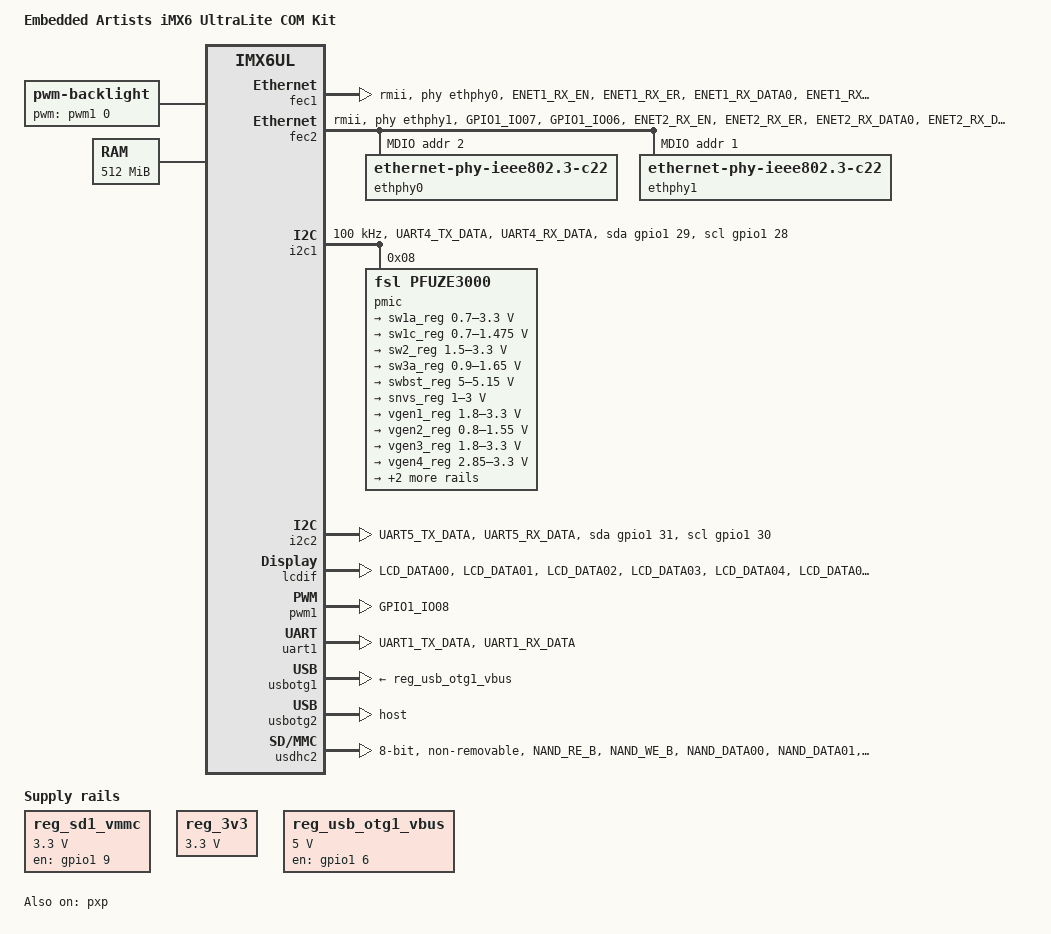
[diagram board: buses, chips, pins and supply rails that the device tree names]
/*
 * Copyright (C) 2015 Freescale Semiconductor, Inc.
 * Copyright 2017 NXP
 *
 * This program is free software; you can redistribute it and/or modify
 * it under the terms of the GNU General Public License version 2 as
 * published by the Free Software Foundation.
 */

/dts-v1/;

#include "imx6ul.dtsi"

/ {
	model = "Embedded Artists iMX6 UltraLite COM Kit";
	compatible = "fsl,imx6ulea-com", "fsl,imx6ul";

        aliases {
                usdhc1 = &usdhc1;
        };

	backlight {
		compatible = "pwm-backlight";
		pwms = <&pwm1 0 5000000>;
		brightness-levels = <0 4 8 16 32 64 128 255>;
		default-brightness-level = <6>;
		status = "okay";
	};

	chosen {
		stdout-path = &uart1;
	};

	memory {
		reg = <0x80000000 0x20000000>;
	};

	pxp_v4l2 {
		compatible = "fsl,imx6ul-pxp-v4l2", "fsl,imx6sx-pxp-v4l2", "fsl,imx6sl-pxp-v4l2";
		status = "okay";
	};

	regulators {
		compatible = "simple-bus";
		#address-cells = <1>;
		#size-cells = <0>;

		reg_sd1_vmmc: regulator@1 {
			compatible = "regulator-fixed";
			regulator-name = "VSD_3V3";
			regulator-min-microvolt = <3300000>;
			regulator-max-microvolt = <3300000>;
			gpio = <&gpio1 9 GPIO_ACTIVE_HIGH>;
			enable-active-high;
		};

		reg_3v3: regulator@2 {
			compatible = "regulator-fixed";
			reg = <2>;
			regulator-name = "reg-3v3";
			regulator-min-microvolt = <3300000>;
			regulator-max-microvolt = <3300000>;
		};

		reg_usb_otg1_vbus: regulator@0 {
			compatible = "regulator-fixed";
			reg = <2>;
			regulator-name = "usb_otg1_vbus";
			regulator-min-microvolt = <5000000>;
			regulator-max-microvolt = <5000000>;

			/* This is a dummy pin. It is not used but must
			   be declared for USB OTG to work. It could be
			   any pin. */
			gpio = <&gpio1 6 GPIO_ACTIVE_HIGH>;
			enable-active-high;
		};
	};

};


&cpu0 {
	/*
	 * on i.MX6UL, no seperated VDD_ARM_IN and VDD_SOC_IN,
	 * to align with other platform and use the same cpufreq
	 * driver, still use the seperated OPP define for arm
	 * and soc.
	 */
	operating-points = <
		/* kHz	uV */
		528000	1175000
		396000	1175000
		198000	1175000
	>;
	fsl,soc-operating-points = <
		/* KHz	uV */
		528000	1175000
		396000	1175000
		198000	1175000
	>;
	fsl,arm-soc-shared = <1>;
};

&reg_arm {
	vin-supply = <&sw1c_reg>;
	regulator-allow-bypass;
};

&reg_soc {
	vin-supply = <&sw1c_reg>;
	regulator-allow-bypass;
};

&fec1 {
	pinctrl-names = "default";
	pinctrl-0 = <&pinctrl_enet1>;
	phy-mode = "rmii";
	phy-handle = <&ethphy0>;
	status = "okay";
};

&fec2 {
	pinctrl-names = "default";
	pinctrl-0 = <&pinctrl_enet2>;
	phy-mode = "rmii";
	phy-handle = <&ethphy1>;
	status = "okay";

	mdio {
		#address-cells = <1>;
		#size-cells = <0>;

		ethphy0: ethernet-phy@2 {
			compatible = "ethernet-phy-ieee802.3-c22";
			reg = <2>;
		};

		ethphy1: ethernet-phy@1 {
			compatible = "ethernet-phy-ieee802.3-c22";
			reg = <1>;
		};
	};
};

&gpc {
	fsl,cpu_pupscr_sw2iso = <0x1>;
	fsl,cpu_pupscr_sw = <0x0>;
	fsl,cpu_pdnscr_iso2sw = <0x1>;
	fsl,cpu_pdnscr_iso = <0x1>;
	fsl,wdog-reset = <1>; /* watchdog select of reset source */
	fsl,ldo-bypass = <1>;
};

&i2c1 {
	clock-frequency = <100000>;
	pinctrl-names = "default", "gpio";
	pinctrl-0 = <&pinctrl_i2c1>;
	pinctrl-1 = <&pinctrl_i2c1_gpio>;
	scl-gpios = <&gpio1 28 GPIO_ACTIVE_HIGH>;
	sda-gpios = <&gpio1 29 GPIO_ACTIVE_HIGH>;
	status = "okay";

	pmic: pfuze3000@08 {
		compatible = "fsl,pfuze3000";
		reg = <0x08>;

		regulators {
			sw1a_reg: sw1a {
				regulator-min-microvolt = <700000>;
				regulator-max-microvolt = <3300000>;
				regulator-boot-on;
				regulator-always-on;
				regulator-ramp-delay = <6250>;
			};

			/* use sw1c_reg to align with pfuze100/pfuze200 */
			sw1c_reg: sw1b {
				regulator-min-microvolt = <700000>;
				regulator-max-microvolt = <1475000>;
				regulator-boot-on;
				regulator-always-on;
				regulator-ramp-delay = <6250>;
			};

			sw2_reg: sw2 {
				regulator-min-microvolt = <1500000>;
				regulator-max-microvolt = <3300000>;
				regulator-boot-on;
				regulator-always-on;
			};

			sw3a_reg: sw3 {
				regulator-min-microvolt = <900000>;
				regulator-max-microvolt = <1650000>;
				regulator-boot-on;
				regulator-always-on;
			};

			swbst_reg: swbst {
				regulator-min-microvolt = <5000000>;
				regulator-max-microvolt = <5150000>;
			};

			snvs_reg: vsnvs {
				regulator-min-microvolt = <1000000>;
				regulator-max-microvolt = <3000000>;
				regulator-boot-on;
				regulator-always-on;
			};

			vref_reg: vrefddr {
				regulator-boot-on;
				regulator-always-on;
			};

			vgen1_reg: vldo1 {
				regulator-min-microvolt = <1800000>;
				regulator-max-microvolt = <3300000>;
				regulator-always-on;
			};

			vgen2_reg: vldo2 {
				regulator-min-microvolt = <800000>;
				regulator-max-microvolt = <1550000>;
				regulator-always-on;
			};

			vgen3_reg: vccsd {
				regulator-min-microvolt = <1800000>;
				regulator-max-microvolt = <3300000>;
				regulator-always-on;
			};

			vgen4_reg: v33 {
				regulator-min-microvolt = <2850000>;
				regulator-max-microvolt = <3300000>;
				regulator-always-on;
			};

			vgen5_reg: vldo3 {
				regulator-min-microvolt = <1800000>;
				regulator-max-microvolt = <3300000>;
				regulator-always-on;
			};

			vgen6_reg: vldo4 {
				regulator-min-microvolt = <1800000>;
				regulator-max-microvolt = <3300000>;
				regulator-always-on;
			};
		};

	};

};

&i2c2 {
	clock_frequency = <100000>;
	pinctrl-names = "default", "gpio";
	pinctrl-0 = <&pinctrl_i2c2>;
	pinctrl-1 = <&pinctrl_i2c2_gpio>;
	scl-gpios = <&gpio1 30 GPIO_ACTIVE_HIGH>;
	sda-gpios = <&gpio1 31 GPIO_ACTIVE_HIGH>;
	status = "okay";
};

&iomuxc {
	pinctrl-names = "default";
	pinctrl-0 = <&pinctrl_hog_1>;
	imx6ul-evk {

		pinctrl_enet1: enet1grp {
			fsl,pins = <
				MX6UL_PAD_ENET1_RX_EN__ENET1_RX_EN	0x1b0b0
				MX6UL_PAD_ENET1_RX_ER__ENET1_RX_ER	0x1b0b0
				MX6UL_PAD_ENET1_RX_DATA0__ENET1_RDATA00	0x1b0b0
				MX6UL_PAD_ENET1_RX_DATA1__ENET1_RDATA01	0x1b0b0
				MX6UL_PAD_ENET1_TX_EN__ENET1_TX_EN	0x1b0b0
				MX6UL_PAD_ENET1_TX_DATA0__ENET1_TDATA00	0x1b0b0
				MX6UL_PAD_ENET1_TX_DATA1__ENET1_TDATA01	0x1b0b0
				MX6UL_PAD_ENET1_TX_CLK__ENET1_REF_CLK1	0x4001b031
			>;
		};

		pinctrl_enet2: enet2grp {
			fsl,pins = <
				MX6UL_PAD_GPIO1_IO07__ENET2_MDC		0x1b0b0
				MX6UL_PAD_GPIO1_IO06__ENET2_MDIO	0x1b0b0
				MX6UL_PAD_ENET2_RX_EN__ENET2_RX_EN	0x1b0b0
				MX6UL_PAD_ENET2_RX_ER__ENET2_RX_ER	0x1b0b0
				MX6UL_PAD_ENET2_RX_DATA0__ENET2_RDATA00	0x1b0b0
				MX6UL_PAD_ENET2_RX_DATA1__ENET2_RDATA01	0x1b0b0
				MX6UL_PAD_ENET2_TX_EN__ENET2_TX_EN	0x1b0b0
				MX6UL_PAD_ENET2_TX_DATA0__ENET2_TDATA00	0x1b0b0
				MX6UL_PAD_ENET2_TX_DATA1__ENET2_TDATA01	0x1b0b0
				MX6UL_PAD_ENET2_TX_CLK__ENET2_REF_CLK2	0x4001b031
				MX6UL_PAD_SNVS_TAMPER0__GPIO5_IO00	0x80000000
			>;
		};

		pinctrl_hog_1: hoggrp-1 {
			fsl,pins = <
				MX6UL_PAD_GPIO1_IO09__GPIO1_IO09        0x17059 /* SD1 RESET */
				MX6UL_PAD_SNVS_TAMPER1__GPIO5_IO01      0x17059 /* CAN Regulator */
			>;
		};

		pinctrl_i2c1: i2c1grp {
			fsl,pins = <
				MX6UL_PAD_UART4_TX_DATA__I2C1_SCL 0x4001b8b0
				MX6UL_PAD_UART4_RX_DATA__I2C1_SDA 0x4001b8b0
			>;
		};

		pinctrl_i2c1_gpio: i2c1grp_gpio {
			fsl,pins = <
				MX6UL_PAD_UART4_TX_DATA__GPIO1_IO28 0x1b8b0
				MX6UL_PAD_UART4_RX_DATA__GPIO1_IO29 0x1b8b0
			>;
		};

		pinctrl_i2c2: i2c2grp {
			fsl,pins = <
				MX6UL_PAD_UART5_TX_DATA__I2C2_SCL 0x4001b8b0
				MX6UL_PAD_UART5_RX_DATA__I2C2_SDA 0x4001b8b0
			>;
		};

		pinctrl_i2c2_gpio: i2c2grp_gpio {
			fsl,pins = <
				MX6UL_PAD_UART5_TX_DATA__GPIO1_IO30 0x1b8b0
				MX6UL_PAD_UART5_RX_DATA__GPIO1_IO31 0x1b8b0
			>;
		};

		pinctrl_lcdif_ctrl: lcdifctrlgrp {
			fsl,pins = <
				MX6UL_PAD_LCD_CLK__LCDIF_CLK	    0x79
				MX6UL_PAD_LCD_ENABLE__LCDIF_ENABLE  0x79
				MX6UL_PAD_LCD_HSYNC__LCDIF_HSYNC    0x79
				MX6UL_PAD_LCD_VSYNC__LCDIF_VSYNC    0x79
				/* Display power enable */
				MX6UL_PAD_GPIO1_IO02__GPIO1_IO02    0x79
			>;
		};

		pinctrl_lcdif_dat: lcdifdatgrp {
			fsl,pins = <
				MX6UL_PAD_LCD_DATA00__LCDIF_DATA00  0x79
				MX6UL_PAD_LCD_DATA01__LCDIF_DATA01  0x79
				MX6UL_PAD_LCD_DATA02__LCDIF_DATA02  0x79
				MX6UL_PAD_LCD_DATA03__LCDIF_DATA03  0x79
				MX6UL_PAD_LCD_DATA04__LCDIF_DATA04  0x79
				MX6UL_PAD_LCD_DATA05__LCDIF_DATA05  0x79
				MX6UL_PAD_LCD_DATA06__LCDIF_DATA06  0x79
				MX6UL_PAD_LCD_DATA07__LCDIF_DATA07  0x79
				MX6UL_PAD_LCD_DATA08__LCDIF_DATA08  0x79
				MX6UL_PAD_LCD_DATA09__LCDIF_DATA09  0x79
				MX6UL_PAD_LCD_DATA10__LCDIF_DATA10  0x79
				MX6UL_PAD_LCD_DATA11__LCDIF_DATA11  0x79
				MX6UL_PAD_LCD_DATA12__LCDIF_DATA12  0x79
				MX6UL_PAD_LCD_DATA13__LCDIF_DATA13  0x79
				MX6UL_PAD_LCD_DATA14__LCDIF_DATA14  0x79
				MX6UL_PAD_LCD_DATA15__LCDIF_DATA15  0x79
				MX6UL_PAD_LCD_DATA16__LCDIF_DATA16  0x79
				MX6UL_PAD_LCD_DATA17__LCDIF_DATA17  0x79
				MX6UL_PAD_LCD_DATA18__LCDIF_DATA18  0x79
				MX6UL_PAD_LCD_DATA19__LCDIF_DATA19  0x79
				MX6UL_PAD_LCD_DATA20__LCDIF_DATA20  0x79
				MX6UL_PAD_LCD_DATA21__LCDIF_DATA21  0x79
				MX6UL_PAD_LCD_DATA22__LCDIF_DATA22  0x79
				MX6UL_PAD_LCD_DATA23__LCDIF_DATA23  0x79
			>;
		};

		pinctrl_pwm1: pwm1grp {
			fsl,pins = <
				MX6UL_PAD_GPIO1_IO08__PWM1_OUT   0x110b0
			>;
		};

		pinctrl_uart1: uart1grp {
			fsl,pins = <
				MX6UL_PAD_UART1_TX_DATA__UART1_DCE_TX 0x1b0b1
				MX6UL_PAD_UART1_RX_DATA__UART1_DCE_RX 0x1b0b1
			>;
		};

		pinctrl_usdhc1: usdhc1grp {
			fsl,pins = <
				MX6UL_PAD_SD1_CMD__USDHC1_CMD     0x17059
				MX6UL_PAD_SD1_CLK__USDHC1_CLK     0x10071
				MX6UL_PAD_SD1_DATA0__USDHC1_DATA0 0x17059
				MX6UL_PAD_SD1_DATA1__USDHC1_DATA1 0x17059
				MX6UL_PAD_SD1_DATA2__USDHC1_DATA2 0x17059
				MX6UL_PAD_SD1_DATA3__USDHC1_DATA3 0x17059
				MX6UL_PAD_GPIO1_IO03__GPIO1_IO03  0x17059
				MX6UL_PAD_GPIO1_IO05__USDHC1_VSELECT	0x17059 /* SD1 VSELECT */
			>;
		};

		pinctrl_usdhc1_100mhz: usdhc1grp100mhz {
			fsl,pins = <
				MX6UL_PAD_SD1_CMD__USDHC1_CMD     0x170b9
				MX6UL_PAD_SD1_CLK__USDHC1_CLK     0x100b9
				MX6UL_PAD_SD1_DATA0__USDHC1_DATA0 0x170b9
				MX6UL_PAD_SD1_DATA1__USDHC1_DATA1 0x170b9
				MX6UL_PAD_SD1_DATA2__USDHC1_DATA2 0x170b9
				MX6UL_PAD_SD1_DATA3__USDHC1_DATA3 0x170b9
			>;
		};

		pinctrl_usdhc1_200mhz: usdhc1grp200mhz {
			fsl,pins = <
				MX6UL_PAD_SD1_CMD__USDHC1_CMD     0x170f9
				MX6UL_PAD_SD1_CLK__USDHC1_CLK     0x100f9
				MX6UL_PAD_SD1_DATA0__USDHC1_DATA0 0x170f9
				MX6UL_PAD_SD1_DATA1__USDHC1_DATA1 0x170f9
				MX6UL_PAD_SD1_DATA2__USDHC1_DATA2 0x170f9
				MX6UL_PAD_SD1_DATA3__USDHC1_DATA3 0x170f9
			>;
		};

		pinctrl_usdhc2: usdhc2grp {
			fsl,pins = <
				MX6UL_PAD_NAND_RE_B__USDHC2_CLK     0x10069
				MX6UL_PAD_NAND_WE_B__USDHC2_CMD     0x17059
				MX6UL_PAD_NAND_DATA00__USDHC2_DATA0 0x17059
				MX6UL_PAD_NAND_DATA01__USDHC2_DATA1 0x17059
				MX6UL_PAD_NAND_DATA02__USDHC2_DATA2 0x17059
				MX6UL_PAD_NAND_DATA03__USDHC2_DATA3 0x17059
			>;
		};

		pinctrl_wdog: wdoggrp {
			fsl,pins = <
				MX6UL_PAD_LCD_RESET__WDOG1_WDOG_ANY    0x30b0
			>;
		};
	};
};

&lcdif {
	pinctrl-names = "default";
	pinctrl-0 = <&pinctrl_lcdif_dat
		     &pinctrl_lcdif_ctrl>;
	display = <&display0>;
	status = "okay";

	display0: display {
		bits-per-pixel = <32>;
		bus-width = <24>;

		/* EA 7" display */
		display-timings {
			native-mode = <&t_lcd>;
			t_lcd: t_lcd_default {
				/* values may be changed in bootscript */
				clock-frequency = <33500000>;
				hactive = <800>;
				vactive = <480>;
				hback-porch = <89>;
				hfront-porch = <164>;
				vback-porch = <75>;/*<23>;*/
				vfront-porch = <75>;/*<10>;*/
				hsync-len = <10>;
				vsync-len = <10>;
				hsync-active = <0>;
				vsync-active = <0>;
				de-active = <1>;
				pixelclk-active = <1>;
			};
		};
	};
};

&pwm1 {
	pinctrl-names = "default";
	pinctrl-0 = <&pinctrl_pwm1>;
	status = "okay";
};

&pxp {
	status = "okay";
};

&uart1 {
	pinctrl-names = "default";
	pinctrl-0 = <&pinctrl_uart1>;
	status = "okay";
};

&usbotg1 {
	vbus-supply = <&reg_usb_otg1_vbus>;
	status = "okay";
};

&usbotg2 {
	dr_mode = "host";
	disable-over-current;
	status = "okay";
};

&usdhc1 {
	pinctrl-names = "default", "state_100mhz", "state_200mhz";
	pinctrl-0 = <&pinctrl_usdhc1>;
	pinctrl-1 = <&pinctrl_usdhc1_100mhz>;
	pinctrl-2 = <&pinctrl_usdhc1_200mhz>;
	cd-gpios = <&gpio1 3 GPIO_ACTIVE_LOW>;
	keep-power-in-suspend;
	no-1-8-v;
	enable-sdio-wakeup;
	vmmc-supply = <&reg_sd1_vmmc>;
	status = "disabled";
};

&usdhc2 {
	pinctrl-names = "default";
	pinctrl-0 = <&pinctrl_usdhc2>;
	bus-width = <8>;
	non-removable;
	status = "okay";
};

&wdog1 {
	pinctrl-names = "default";
	pinctrl-0 = <&pinctrl_wdog>;
	fsl,wdog_b;
};
